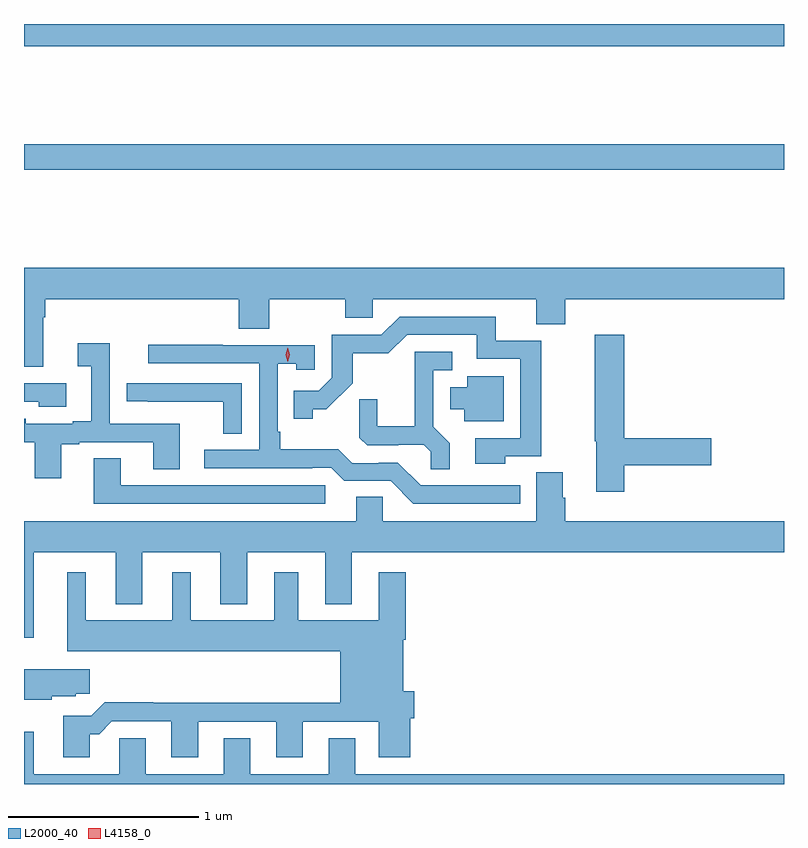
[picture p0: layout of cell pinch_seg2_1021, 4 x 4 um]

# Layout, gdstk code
import gdstk
lib = gdstk.Library(unit=1e-6, precision=1e-09)
def R(c, l, rs):  # rectangles x0, y0, x1, y1
    for r in rs: c.add(gdstk.rectangle(r[:2], r[2:], *l))
def P(c, l, *ps):  # polygons
    for p in ps: c.add(gdstk.Polygon(p, *l))
L2000_40 = (2000, 40)
L4158_0 = (4158, 0)

pinch_seg2_1021 = lib.new_cell('pinch_seg2_1021')
R(pinch_seg2_1021, L2000_40, [(316.629,596.368,320.629,596.504), (316.629,597.02,320.629,597.136)])
P(pinch_seg2_1021, L2000_40, [(316.729,595.592),(316.742,595.592),(316.742,595.688),(317.759,595.688),(317.759,595.531),(317.919,595.531),(317.919,595.688),(318.319,595.688),(318.319,595.59),(318.465,595.59),(318.465,595.688),(319.325,595.688),(319.325,595.555),(319.478,595.555),(319.478,595.688),(320.629,595.688),(320.629,595.852),(316.629,595.852),(316.629,595.332),(316.729,595.332)],
  [(319.161,594.861),(319.351,594.861),(319.351,595.47),(319.112,595.47),(319.112,595.596),(318.606,595.596),(318.51,595.5),(318.249,595.5),(318.249,595.275),(318.18,595.206),(318.049,595.206),(318.049,595.059),(318.15,595.059),(318.15,595.109),(318.22,595.109),(318.358,595.246),(318.358,595.402),(318.547,595.402),(318.645,595.5),(319.013,595.5),(319.013,595.374),(319.242,595.374),(319.242,594.957),(319.005,594.957),(319.005,594.821),(319.161,594.821)],
  [(319.787,594.814),(320.245,594.814),(320.245,594.956),(319.787,594.956),(319.787,595.501),(319.633,595.501),(319.633,594.939),(319.64,594.939),(319.64,594.675),(319.787,594.675)],
  [(316.825,594.924),(316.921,594.924),(316.921,594.936),(317.309,594.936),(317.309,594.793),(317.449,594.793),(317.449,595.032),(317.079,595.032),(317.079,595.456),(316.911,595.456),(316.911,595.336),(316.982,595.336),(316.982,595.045),(316.886,595.045),(316.886,595.032),(316.638,595.032),(316.638,595.059),(316.629,595.059),(316.629,594.936),(316.685,594.936),(316.685,594.744),(316.825,594.744)],
  [(319.24,594.708),(318.717,594.708),(318.597,594.828),(318.496,594.828),(318.496,594.825),(318.357,594.825),(318.284,594.898),(317.977,594.898),(317.977,594.991),(317.964,594.991),(317.964,595.349),(318.063,595.349),(318.063,595.317),(318.159,595.317),(318.159,595.446),(317.675,595.446),(317.675,595.449),(317.283,595.449),(317.283,595.35),(317.868,595.35),(317.868,594.894),(317.577,594.894),(317.577,594.798),(318.146,594.798),(318.146,594.801),(318.246,594.801),(318.315,594.732),(318.558,594.732),(318.678,594.612),(319.24,594.612)],
  [(318.869,594.929),(318.783,595.015),(318.783,595.314),(318.883,595.314),(318.883,595.41),(318.686,595.41),(318.686,595.018),(318.488,595.018),(318.488,595.161),(318.394,595.161),(318.394,594.959),(318.435,594.918),(318.6,594.918),(318.6,594.921),(318.734,594.921),(318.771,594.884),(318.771,594.793),(318.869,594.793)],
  [(319.153,595.282),(318.962,595.282),(318.962,595.225),(318.872,595.225),(318.872,595.109),(318.947,595.109),(318.947,595.046),(319.153,595.046)],
  [(317.775,595.245),(317.169,595.245),(317.169,595.15),(317.281,595.15),(317.281,595.149),(317.677,595.149),(317.677,594.979),(317.775,594.979)],
  [(316.852,595.245),(316.629,595.245),(316.629,595.149),(316.707,595.149),(316.707,595.121),(316.852,595.121)],
  [(318.214,594.708),(317.137,594.708),(317.137,594.851),(316.997,594.851),(316.997,594.612),(318.214,594.612)],
  [(316.681,594.356),(317.111,594.356),(317.111,594.083),(317.251,594.083),(317.251,594.356),(317.663,594.356),(317.663,594.083),(317.803,594.083),(317.803,594.356),(318.215,594.356),(318.215,594.083),(318.355,594.083),(318.355,594.356),(320.629,594.356),(320.629,594.52),(319.478,594.52),(319.478,594.642),(319.465,594.642),(319.465,594.776),(319.325,594.776),(319.325,594.52),(318.516,594.52),(318.516,594.647),(318.377,594.647),(318.377,594.52),(316.629,594.52),(316.629,593.907),(316.681,593.907)],
  [(316.975,593.399),(317.024,593.399),(317.091,593.466),(317.405,593.466),(317.405,593.277),(317.545,593.277),(317.545,593.463),(317.957,593.463),(317.957,593.277),(318.097,593.277),(318.097,593.463),(318.497,593.463),(318.497,593.277),(318.662,593.277),(318.662,593.482),(318.682,593.482),(318.682,593.624),(318.625,593.624),(318.625,593.894),(318.638,593.894),(318.638,594.25),(318.497,594.25),(318.497,593.998),(318.073,593.998),(318.073,594.25),(317.945,594.25),(317.945,593.998),(317.506,593.998),(317.506,594.25),(317.408,594.25),(317.408,593.998),(316.954,593.998),(316.954,594.25),(316.856,594.25),(316.856,593.834),(318.293,593.834),(318.293,593.564),(317.309,593.564),(317.309,593.567),(317.054,593.567),(316.983,593.496),(316.835,593.496),(316.835,593.277),(316.975,593.277)],
  [(316.776,593.597),(316.902,593.597),(316.902,593.611),(316.975,593.611),(316.975,593.74),(316.629,593.74),(316.629,593.579),(316.776,593.579)],
  [(320.629,593.188),(318.373,593.188),(318.373,593.378),(318.233,593.378),(318.233,593.188),(317.821,593.188),(317.821,593.378),(317.681,593.378),(317.681,593.188),(317.269,593.188),(317.269,593.378),(317.13,593.378),(317.13,593.188),(316.681,593.188),(316.681,593.41),(316.629,593.41),(316.629,593.136),(320.629,593.136)])
P(pinch_seg2_1021, L4158_0, [(318.017,595.359),(318.017,595.359),(318.007,595.395),(318.017,595.431),(318.017,595.431),(318.017,595.431),(318.027,595.395),(318.017,595.359)])

lib.write_gds('pinch_seg2_1021.gds')
